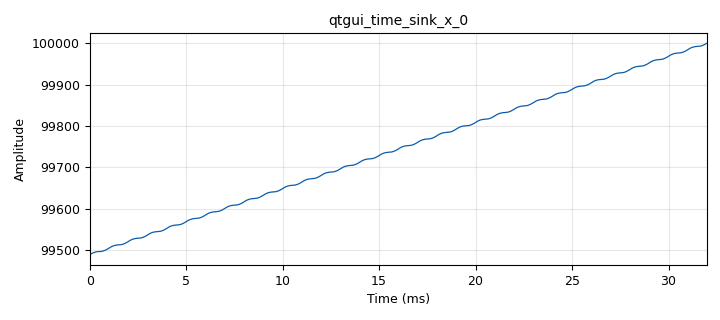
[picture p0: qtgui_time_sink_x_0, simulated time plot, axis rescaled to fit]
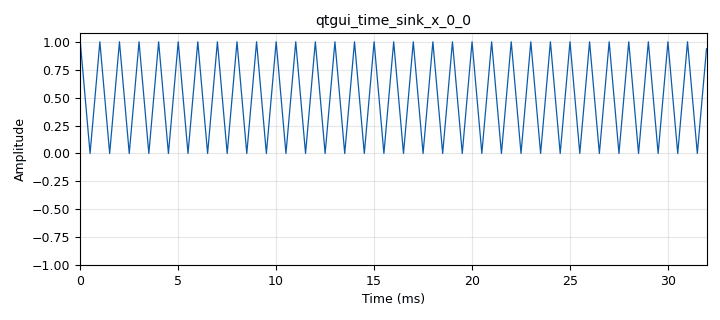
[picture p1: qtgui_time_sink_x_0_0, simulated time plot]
options:
  parameters:
    generate_options: qt_gui
    id: prueba_1
    output_language: python
    title: Not titled yet
  states: {}

blocks:
- name: samp_rate
  id: variable
  parameters:
    value: '32000'
  states: {}
- name: analog_sig_source_x_0
  id: analog_sig_source_x
  parameters:
    amp: '1'
    freq: '1000'
    offset: '0'
    phase: '0'
    samp_rate: samp_rate
    type: float
    waveform: analog.GR_TRI_WAVE
  states: {}
- name: epy_block_0
  id: epy_block
  parameters:
    _source_code: |
      import numpy as np
      from gnuradio import gr

      class blk(gr.sync_block):

          def __init__(self):  # only default arguments here
              gr.sync_block.__init__(
                  self,
                  name='e_Diff',  # will show up in GRC
                  in_sig=[np.float32],
                  out_sig=[np.float32]
              )

              self.acum_anterior = 0.0

          def work(self, input_items, output_items):

              x = input_items[0]      # Señal de entrada
              y0 = output_items[0]    # Señal acumulada diferencial

              N = len(x)

              diff = np.cumsum(x) + self.acum_anterior
              self.acum_anterior = diff[N - 1]

              y0[:] = diff

              return len(y0)
  states: {}
- name: qtgui_time_sink_x_0
  id: qtgui_time_sink_x
  parameters:
    size: '1024'
    srate: samp_rate
    type: float
  states: {}
- name: qtgui_time_sink_x_0_0
  id: qtgui_time_sink_x
  parameters:
    size: '1024'
    srate: samp_rate
    type: float
  states: {}

connections:
- [analog_sig_source_x_0, '0', epy_block_0, '0']
- [analog_sig_source_x_0, '0', qtgui_time_sink_x_0_0, '0']
- [epy_block_0, '0', qtgui_time_sink_x_0, '0']

metadata:
  file_format: 1
  grc_version: v3.10.11.0-89-ga17f69e7
